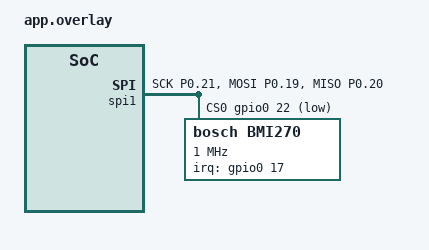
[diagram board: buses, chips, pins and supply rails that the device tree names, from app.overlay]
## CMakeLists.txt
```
cmake_minimum_required(VERSION 3.20.0)
find_package(Zephyr REQUIRED HINTS $ENV{ZEPHYR_BASE})
project(NONE)

FILE(GLOB app_sources src/*.c)
target_sources(app PRIVATE ${app_sources})
```

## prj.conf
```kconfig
CONFIG_STDOUT_CONSOLE=y
CONFIG_SPI=y
CONFIG_SENSOR=y
CONFIG_BMI270=y
# configure BMI270 to send interrupts
CONFIG_BMI270_TRIGGER=y 
CONFIG_USE_SEGGER_RTT=y
CONFIG_RTT_CONSOLE=y
CONFIG_UART_CONSOLE=n

CONFIG_CLOCK_CONTROL_NRF_K32SRC_RC=y
CONFIG_CLOCK_CONTROL_NRF_K32SRC_500PPM=y

CONFIG_ESB=y
```

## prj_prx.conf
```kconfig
# Basic System
CONFIG_GPIO=y
CONFIG_PRINTK=y
CONFIG_CBPRINTF_FP_SUPPORT=y 

# ESB Configuration
CONFIG_ESB=y
CONFIG_ESB_MAX_PAYLOAD_LENGTH=32

# RTT Console Logging
CONFIG_USE_SEGGER_RTT=y
CONFIG_RTT_CONSOLE=y
CONFIG_UART_CONSOLE=n
CONFIG_STDOUT_CONSOLE=y

# MANDATORY HARDWARE CLOCK FIX (Internal RC Oscillator)
CONFIG_CLOCK_CONTROL_NRF_K32SRC_RC=y
CONFIG_CLOCK_CONTROL_NRF_K32SRC_500PPM=y
```

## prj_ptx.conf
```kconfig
# Basic System
CONFIG_GPIO=y
CONFIG_PRINTK=y

# Required to print floating point numbers like your 3.14f test_value
CONFIG_CBPRINTF_FP_SUPPORT=y 

CONFIG_ESB=y
CONFIG_ESB_MAX_PAYLOAD_LENGTH=32
CONFIG_STDOUT_CONSOLE=y
CONFIG_USE_SEGGER_RTT=y
CONFIG_RTT_CONSOLE=y
CONFIG_UART_CONSOLE=n

# MANDATORY HARDWARE CLOCK FIX (Internal RC Oscillator)
CONFIG_CLOCK_CONTROL_NRF_K32SRC_RC=y
CONFIG_CLOCK_CONTROL_NRF_K32SRC_500PPM=y
```

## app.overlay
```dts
&pinctrl {
    spi1_default: spi1_default {
        group1 {
            psels = <NRF_PSEL(SPIM_SCK, 0, 21)>,
                    <NRF_PSEL(SPIM_MOSI, 0, 19)>,
                    <NRF_PSEL(SPIM_MISO, 0, 20)>;
        };
    };
};

/*
The number after the @ symbol (and inside the reg property) specifies the hardware address of the device on that specific bus.
*/

&spi1 {
    compatible = "nordic,nrf-spim";
    status = "okay";
    pinctrl-0 = <&spi1_default>;
    pinctrl-names = "default";
    /delete-property/ pinctrl-1;

    cs-gpios = <&gpio0 22 GPIO_ACTIVE_LOW>; 

    bmi270: bmi270@0 {
        compatible = "bosch,bmi270";
        reg = <0>;
        spi-max-frequency = <1000000>;
        irq-gpios = <&gpio0 17 GPIO_ACTIVE_HIGH>;
    };
};
```

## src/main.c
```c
#include <zephyr/kernel.h>
#include <zephyr/device.h>
#include <zephyr/drivers/sensor.h>
#include <zephyr/sys/printk.h>

static void bmi270_trigger_handler(const struct device *dev, struct sensor_trigger *trig){
    struct sensor_value val;

    if (trig->type == SENSOR_TRIG_DATA_READY){

         printk("BMI270 data arrived, fetching now...\n");

        // Fetch sensor samples 
        sensor_sample_fetch(bmi270);

        // Get Accelerometer Data
        sensor_channel_get(bmi270, SENSOR_CHAN_ACCEL_XYZ, accel);
        
        // Get Gyroscope Data
        sensor_channel_get(bmi270, SENSOR_CHAN_GYRO_XYZ, gyro);

        printk("Accel X: %d.%06d m/s^2\n", accel.val1, accel.val2);
        printk("Gyro X: %d.%06d rad/s\n", gyro.val1, gyro.val2);
    }

}

static void bmi270_init(){
    const struct device *const bmi270 = DEVICE_DT_GET(DT_NODELABEL(bmi270));
     struct sensor_trigger trig;

    if (!device_is_ready(bmi270)) {
        printk("Device BMI270 is not ready.\n");
        return 0;
    }

    if (!bmi270_init_interrupts(bmi270)){
        printk("Interrupt Trigger Enabled for BMI270. \n")
    }   

    trig.type = SENSOR_TRIG_DATA_READY;
    trig.chan = SENSOR_CHAN_ALL;

     if (!bmi270_trigger_set(dev, &trig, bmi270_trigger_handler)){
         printf("Trigger set successfully!\n");
     }

    while (1) {
      k_sleep_ms(K_FOREVER);
    }
}
```

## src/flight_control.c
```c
#include <zephyr/kernel.h>
#include <zephyr/device.h>
#include <zephyr/drivers/sensor.h>
#include <zephyr/sys/printk.h>

euler_angles_t current_angle = {0.0f, 0.0f, 0.0f};

void flight_controller_thread(void* p1, void* p2, void* p3){

    struct sensor_value accel[3];
    struct sensor_value gyro[3];

    while(1){
        // Kept printk-s for debugging; Will comment out during actual flight

        k_sem_take(&imu_data_ready_sem, K_FOREVER);

            printk("BMI270 data arrived, fetching now...\n");

            // Fetch sensor samples 
            sensor_sample_fetch(bmi270);

            // Get Accelerometer Data
            sensor_channel_get(bmi270, SENSOR_CHAN_ACCEL_XYZ, accel);
            
            // Get Gyroscope Data
            sensor_channel_get(bmi270, SENSOR_CHAN_GYRO_XYZ, gyro);

            // Only printing X values for now, might change later
            printk("Accel X: %d.%06d m/s^2\n", accel[0].val1, accel[0].val2);
            printk("Gyro X: %d.%06d rad/s\n", gyro[0].val1, gyro[0].val2);

            // Compute current orientation (Euler Angles)
            sensor_fusion_compute(accel, gyro, &current_angle);

            // Get the latest stick positions from the radio thread
            radio_triple_buffer(&remote_commands);

            // Run the PID Controller
            pid_control(&current_angle, &remote_commands, &pid_corrections);

            // Calculate outputs after running computations with current throttle requested and PID corrections
            motor_calculate(remote_commands.throttle, &pid_corrections, &motor_powers);

            // Send the duty cycle to motors
            pwm_write_channels(&motor_powers);            

    }
}
```

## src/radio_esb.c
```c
#include <zephyr/kernel.h>
#include <zephyr/sys/printk.h>
#include <esb.h>
#include <string.h>

#include "radio_esb.h"

// Private callback function (main.c doesn't need to know this exists)
static void esb_callback(struct esb_evt const *event) {
    switch (event->evt_id) {
        case ESB_EVENT_TX_SUCCESS:
            // Hardware ACK received.
            break;
        case ESB_EVENT_TX_FAILED:
            printk("TX Failed: Packet dropped over the air.\n");
            break;
        case ESB_EVENT_RX_RECEIVED:
            {
                struct esb_payload rx_payload;
                if (esb_read_rx_payload(&rx_payload) == 0) {
                    test_payload_t incoming_data;
                    memcpy(&incoming_data, rx_payload.data, sizeof(test_payload_t));
                    
                    printk("RX Success! ID: %d | Value: %f\n", 
                           incoming_data.packet_id, (double)incoming_data.test_value);
                }
            }
            break;
    }
}

int radio_esb_init(bool is_transmitter) {
    struct esb_config config = ESB_DEFAULT_CONFIG;
    
    config.protocol = ESB_PROTOCOL_ESB_DPL;
    config.retransmit_delay = 600;
    config.bitrate = ESB_BITRATE_2MBPS;
    config.event_handler = esb_callback;

    if (is_transmitter) {
        config.mode = ESB_MODE_PTX;
    } else {
        config.mode = ESB_MODE_PRX;
    }

    int err = esb_init(&config);
    if (err) {
        printk("ESB Init Error: %d\n", err);
        return err;
    }

    if (!is_transmitter) {
        esb_start_rx();
        printk("Receiver configured and listening...\n");
    } else {
        printk("Transmitter configured and ready...\n");
    }
    
    return 0;
}

void radio_esb_send_packet(uint8_t *data, uint8_t length) {
    struct esb_payload tx_payload = {
        .pipe = 0,
        .noack = false,
    };
    
    memcpy(tx_payload.data, data, length);
    tx_payload.length = length;
    
    esb_write_payload(&tx_payload);
}
```
